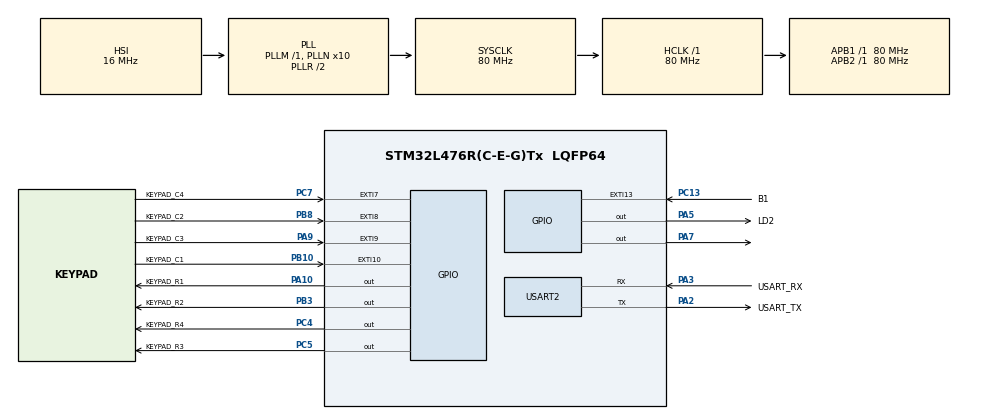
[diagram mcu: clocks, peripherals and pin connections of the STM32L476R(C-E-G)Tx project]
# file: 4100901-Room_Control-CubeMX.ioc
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Mcu.Family=STM32L4
Mcu.Name=STM32L476R(C-E-G)Tx
Mcu.Package=LQFP64
NVIC.EXTI15_10_IRQn=true\:0\:0\:false\:false\:true\:true\:true\:true
NVIC.EXTI9_5_IRQn=true\:0\:0\:false\:false\:true\:true\:true\:true
NVIC.PriorityGroup=NVIC_PRIORITYGROUP_4
NVIC.USART2_IRQn=true\:0\:0\:false\:false\:true\:true\:true\:true
PA10.GPIO_Label=KEYPAD_R1
PA10.GPIO_PuPd=GPIO_NOPULL
PA10.Signal=GPIO_Output
PA13\ (JTMS-SWDIO).GPIO_Label=TMS
PA13\ (JTMS-SWDIO).Mode=Serial_Wire
PA13\ (JTMS-SWDIO).Signal=SYS_JTMS-SWDIO
PA14\ (JTCK-SWCLK).GPIO_Label=TCK
PA14\ (JTCK-SWCLK).Mode=Serial_Wire
PA14\ (JTCK-SWCLK).Signal=SYS_JTCK-SWCLK
PA2.GPIO_Label=USART_TX
PA2.GPIO_Mode=GPIO_MODE_AF_PP
PA2.GPIO_PuPd=GPIO_NOPULL
PA2.GPIO_Speed=GPIO_SPEED_FREQ_VERY_HIGH
PA2.Mode=Asynchronous
PA2.Signal=USART2_TX
PA3.GPIO_Label=USART_RX
PA3.GPIO_Mode=GPIO_MODE_AF_PP
PA3.GPIO_PuPd=GPIO_NOPULL
PA3.GPIO_Speed=GPIO_SPEED_FREQ_VERY_HIGH
PA3.Mode=Asynchronous
PA3.Signal=USART2_RX
PA5.GPIO_Label=LD2
PA5.GPIO_ModeDefaultOutputPP=GPIO_MODE_OUTPUT_PP
PA5.GPIO_PuPd=GPIO_NOPULL
PA5.GPIO_Speed=GPIO_SPEED_FREQ_LOW
PA5.Signal=GPIO_Output
PA7.Signal=GPIO_Output
PA9.GPIO_Label=KEYPAD_C3
PA9.GPIO_ModeDefaultEXTI=GPIO_MODE_IT_FALLING
PA9.GPIO_PuPd=GPIO_PULLUP
PA9.Signal=GPXTI9
PB10.GPIO_Label=KEYPAD_C1
PB10.GPIO_ModeDefaultEXTI=GPIO_MODE_IT_FALLING
PB10.GPIO_PuPd=GPIO_PULLUP
PB10.Signal=GPXTI10
PB3\ (JTDO-TRACESWO).GPIO_Label=KEYPAD_R2
PB3\ (JTDO-TRACESWO).Signal=GPIO_Output
PB8.GPIO_Label=KEYPAD_C2
PB8.GPIO_ModeDefaultEXTI=GPIO_MODE_IT_FALLING
PB8.GPIO_PuPd=GPIO_PULLUP
PB8.Signal=GPXTI8
PC13.GPIO_Label=B1
PC13.GPIO_ModeDefaultEXTI=GPIO_MODE_IT_FALLING
PC13.GPIO_PuPd=GPIO_NOPULL
PC13.Signal=GPXTI13
PC14-OSC32_IN\ (PC14).Mode=LSE-External-Oscillator
PC14-OSC32_IN\ (PC14).Signal=RCC_OSC32_IN
PC15-OSC32_OUT\ (PC15).Mode=LSE-External-Oscillator
PC15-OSC32_OUT\ (PC15).Signal=RCC_OSC32_OUT
PC4.GPIO_Label=KEYPAD_R4
PC4.Signal=GPIO_Output
PC5.GPIO_Label=KEYPAD_R3
PC5.Signal=GPIO_Output
PC7.GPIO_Label=KEYPAD_C4
PC7.GPIO_ModeDefaultEXTI=GPIO_MODE_IT_FALLING
PC7.GPIO_PuPd=GPIO_PULLUP
PC7.Signal=GPXTI7
PH0-OSC_IN\ (PH0).Signal=RCC_OSC_IN
PH1-OSC_OUT\ (PH1).Signal=RCC_OSC_OUT
ProjectManager.HeapSize=0x200
ProjectManager.StackSize=0x400
ProjectManager.TargetToolchain=CMake
RCC.ADCFreq_Value=64000000
RCC.AHBFreq_Value=80000000
RCC.APB1Freq_Value=80000000
RCC.APB1TimFreq_Value=80000000
RCC.APB2Freq_Value=80000000
RCC.APB2TimFreq_Value=80000000
RCC.CortexFreq_Value=80000000
RCC.HCLKFreq_Value=80000000
RCC.HSE_VALUE=8000000
RCC.HSI_VALUE=16000000
RCC.MSI_VALUE=4000000
RCC.PLLN=10
RCC.PLLSourceVirtual=RCC_PLLSOURCE_HSI
RCC.PREFETCH_ENABLE=1
RCC.SYSCLKFreq_VALUE=80000000
RCC.SYSCLKSource=RCC_SYSCLKSOURCE_PLLCLK
RCC.USBFreq_Value=64000000
RCC.VCOOutputFreq_Value=160000000
USART2.VirtualMode-Asynchronous=VM_ASYNC
board=NUCLEO-L476RG

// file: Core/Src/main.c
/* USER CODE BEGIN Header */
/**
    ******************************************************************************
    * @file           : main.c
    * @brief          : Programa principal (lectura de teclado matricial)
    *
    * @details
    * Este archivo define el punto de inicio del firmware y la inicialización
    * general para un sistema de control de sala basado en un STM32L4. El sistema
    * lee un teclado matricial 4x4 mediante interrupciones GPIO, almacena las teclas
    * presionadas en un buffer circular y envía los eventos detectados por UART.
    * Cada vez que se registra una tecla válida, el LED de la placa cambia de estado.
    *
    * Módulos principales:
    * - `keypad_driver.h` : funciones para escaneo e inicialización del teclado
    * - `ring_buffer.h`   : implementación del buffer circular de teclas
    * - `led_driver.h`    : control del LED indicador
    * - `USART2`          : interfaz UART usada para debug/logs a 115200 baudios
    *
    * Secuencia general de ejecución:
    * 1. Inicialización del HAL y configuración del reloj principal
    * 2. Configuración de periféricos (GPIO, UART)
    * 3. Inicialización de módulos (LED, teclado, buffer circular)
    * 4. Bucle infinito: lectura del buffer, impresión de la tecla y cambio de LED
    *
    * Interrupciones:
    * - Las columnas del teclado se configuran como líneas EXTI por flanco de
    *   bajada. La rutina `HAL_GPIO_EXTI_Callback` identifica la tecla presionada
    *   mediante `keypad_scan()` y la guarda en `keypad_rb`.
    *
    * @note
    * Los nombres de pines/puertos como `KEYPAD_R1_GPIO_Port` o `LD2_Pin`
    * provienen del proyecto CubeMX y deben coincidir con la configuración del `.ioc`.
    ******************************************************************************
    */
/* USER CODE END Header */
#include "main.h"

/* USER CODE BEGIN Includes */
#include "keypad_driver.h"
#include "ring_buffer.h"
#include "led_driver.h"
#include <stdio.h>
/* USER CODE END Includes */

UART_HandleTypeDef huart2;

/* USER CODE BEGIN PV */
/**
 * @brief Control del LED integrado en la placa
 *
 * Se usa como indicador visual, alternando su estado cada vez que se procesa
 * un evento de tecla.
 */
led_handle_t led1 = { .port = GPIOA, .pin = GPIO_PIN_5 };

keypad_handle_t keypad = {
    .row_ports = {KEYPAD_R1_GPIO_Port, KEYPAD_R2_GPIO_Port, KEYPAD_R3_GPIO_Port, KEYPAD_R4_GPIO_Port},
    .row_pins  = {KEYPAD_R1_Pin, KEYPAD_R2_Pin, KEYPAD_R3_Pin, KEYPAD_R4_Pin},
    .col_ports = {KEYPAD_C1_GPIO_Port, KEYPAD_C2_GPIO_Port, KEYPAD_C3_GPIO_Port, KEYPAD_C4_GPIO_Port},
    .col_pins  = {KEYPAD_C1_Pin, KEYPAD_C2_Pin, KEYPAD_C3_Pin, KEYPAD_C4_Pin}
};

#define KEYPAD_BUFFER_LEN 16
uint8_t keypad_buffer[KEYPAD_BUFFER_LEN];
/**
 * @brief Buffer circular para almacenamiento de teclas
 *
 * Este buffer usa `keypad_buffer` como área de memoria (tamaño `KEYPAD_BUFFER_LEN`).
 * Las teclas detectadas desde la rutina EXTI se agregan aquí, permitiendo que
 * el bucle principal las procese sin cargar la interrupción.
 */
ring_buffer_t keypad_rb;

/* USER CODE END PV */

void SystemClock_Config(void);
static void MX_GPIO_Init(void);
static void MX_USART2_UART_Init(void);

/* USER CODE BEGIN 0 */

// === INTERRUPCIÓN DEL TECLADO ============================================
/**
 * @brief Callback de interrupción EXTI para GPIO
 *
 * Esta función del HAL se ejecuta cuando ocurre un evento EXTI en las columnas
 * del teclado (flanco de bajada). Llama a `keypad_scan()` para identificar la
 * tecla presionada y, si es válida, la almacena en el buffer circular `keypad_rb`
 * para ser procesada luego por el bucle principal.
 *
 * @param GPIO_Pin Pin que generó la interrupción EXTI.
 */
void HAL_GPIO_EXTI_Callback(uint16_t GPIO_Pin)
{
    char key = keypad_scan(&keypad, GPIO_Pin);
    if (key != '\0')
    {
        ring_buffer_write(&keypad_rb, (uint8_t)key);
    }
}

/* USER CODE END 0 */

/**
  * @brief  Función principal de la aplicación.
  * @retval int
  */
int main(void)
{

  /* Configuración de la MCU --------------------------------------------------*/

  /* Reinicia todos los periféricos, inicializa la Flash y el Systick. */
  HAL_Init();

  /* Configuración del reloj del sistema */
  SystemClock_Config();

  /* Inicialización de periféricos */
  MX_GPIO_Init();
  MX_USART2_UART_Init();

  /* Bucle principal */
  while (1)
  {

  }
}

/**
  * @brief Configuración del reloj del sistema
  * @retval Ninguno
  */
void SystemClock_Config(void)
{
  RCC_OscInitTypeDef RCC_OscInitStruct = {0};
  RCC_ClkInitTypeDef RCC_ClkInitStruct = {0};

  /** Configura el voltaje de salida del regulador interno principal */
  if (HAL_PWREx_ControlVoltageScaling(PWR_REGULATOR_VOLTAGE_SCALE1) != HAL_OK)
  {
    Error_Handler();
  }

  /** Inicializa los osciladores RCC según los parámetros definidos */
  RCC_OscInitStruct.OscillatorType = RCC_OSCILLATORTYPE_HSI;
  RCC_OscInitStruct.HSIState = RCC_HSI_ON;
  RCC_OscInitStruct.HSICalibrationValue = RCC_HSICALIBRATION_DEFAULT;
  RCC_OscInitStruct.PLL.PLLState = RCC_PLL_ON;
  RCC_OscInitStruct.PLL.PLLSource = RCC_PLLSOURCE_HSI;
  RCC_OscInitStruct.PLL.PLLM = 1;
  RCC_OscInitStruct.PLL.PLLN = 10;
  RCC_OscInitStruct.PLL.PLLP = RCC_PLLP_DIV7;
  RCC_OscInitStruct.PLL.PLLQ = RCC_PLLQ_DIV2;
  RCC_OscInitStruct.PLL.PLLR = RCC_PLLR_DIV2;
  if (HAL_RCC_OscConfig(&RCC_OscInitStruct) != HAL_OK)
  {
    Error_Handler();
  }

  /** Inicializa los relojes del CPU, AHB y APB */
  RCC_ClkInitStruct.ClockType = RCC_CLOCKTYPE_HCLK|RCC_CLOCKTYPE_SYSCLK
                              |RCC_CLOCKTYPE_PCLK1|RCC_CLOCKTYPE_PCLK2;
  RCC_ClkInitStruct.SYSCLKSource = RCC_SYSCLKSOURCE_PLLCLK;
  RCC_ClkInitStruct.AHBCLKDivider = RCC_SYSCLK_DIV1;
  RCC_ClkInitStruct.APB1CLKDivider = RCC_HCLK_DIV1;
  RCC_ClkInitStruct.APB2CLKDivider = RCC_HCLK_DIV1;

  if (HAL_RCC_ClockConfig(&RCC_ClkInitStruct, FLASH_LATENCY_4) != HAL_OK)
  {
    Error_Handler();
  }
}

/**
  * @brief Inicialización de USART2
  * @param Ninguno
  * @retval Ninguno
  */
static void MX_USART2_UART_Init(void)
{

  huart2.Instance = USART2;
  huart2.Init.BaudRate = 115200;
  huart2.Init.WordLength = UART_WORDLENGTH_8B;
  huart2.Init.StopBits = UART_STOPBITS_1;
  huart2.Init.Parity = UART_PARITY_NONE;
  huart2.Init.Mode = UART_MODE_TX_RX;
  huart2.Init.HwFlowCtl = UART_HWCONTROL_NONE;
  huart2.Init.OverSampling = UART_OVERSAMPLING_16;
  huart2.Init.OneBitSampling = UART_ONE_BIT_SAMPLE_DISABLE;
  huart2.AdvancedInit.AdvFeatureInit = UART_ADVFEATURE_NO_INIT;
  if (HAL_UART_Init(&huart2) != HAL_OK)
  {
    Error_Handler();
  }

}

/**
  * @brief Inicialización de los pines GPIO
  * @param Ninguno
  * @retval Ninguno
  */
static void MX_GPIO_Init(void)
{
  GPIO_InitTypeDef GPIO_InitStruct = {0};

  /* Activar reloj de los puertos GPIO */
  __HAL_RCC_GPIOC_CLK_ENABLE();
  __HAL_RCC_GPIOH_CLK_ENABLE();
  __HAL_RCC_GPIOA_CLK_ENABLE();
  __HAL_RCC_GPIOB_CLK_ENABLE();

  /* Configurar el nivel inicial de salida de algunos pines */
  HAL_GPIO_WritePin(GPIOA, LD2_Pin|GPIO_PIN_7|KEYPAD_R1_Pin, GPIO_PIN_RESET);

  HAL_GPIO_WritePin(GPIOC, KEYPAD_R4_Pin|KEYPAD_R3_Pin, GPIO_PIN_RESET);

  HAL_GPIO_WritePin(KEYPAD_R2_GPIO_Port, KEYPAD_R2_Pin, GPIO_PIN_RESET);

  /* Configuración del pin B1 como interrupción por flanco descendente */
  GPIO_InitStruct.Pin = B1_Pin;
  GPIO_InitStruct.Mode = GPIO_MODE_IT_FALLING;
  GPIO_InitStruct.Pull = GPIO_NOPULL;
  HAL_GPIO_Init(B1_GPIO_Port, &GPIO_InitStruct);

  /* Pines de salida: LED, PA7 y R1 */
  GPIO_InitStruct.Pin = LD2_Pin|GPIO_PIN_7|KEYPAD_R1_Pin;
  GPIO_InitStruct.Mode = GPIO_MODE_OUTPUT_PP;
  GPIO_InitStruct.Pull = GPIO_NOPULL;
  GPIO_InitStruct.Speed = GPIO_SPEED_FREQ_LOW;
  HAL_GPIO_Init(GPIOA, &GPIO_InitStruct);

  /* Pines de salida: R4 y R3 */
  GPIO_InitStruct.Pin = KEYPAD_R4_Pin|KEYPAD_R3_Pin;
  GPIO_InitStruct.Mode = GPIO_MODE_OUTPUT_PP;
  GPIO_InitStruct.Pull = GPIO_NOPULL;
  GPIO_InitStruct.Speed = GPIO_SPEED_FREQ_LOW;
  HAL_GPIO_Init(GPIOC, &GPIO_InitStruct);

  /* Pines de entrada con interrupción: C1 y C2 */
  GPIO_InitStruct.Pin = KEYPAD_C1_Pin|KEYPAD_C2_Pin;
  GPIO_InitStruct.Mode = GPIO_MODE_IT_FALLING;
  GPIO_InitStruct.Pull = GPIO_PULLUP;
  HAL_GPIO_Init(GPIOB, &GPIO_InitStruct);

  /* Pin de entrada con interrupción: C4 */
  GPIO_InitStruct.Pin = KEYPAD_C4_Pin;
  GPIO_InitStruct.Mode = GPIO_MODE_IT_FALLING;
  GPIO_InitStruct.Pull = GPIO_PULLUP;
  HAL_GPIO_Init(KEYPAD_C4_GPIO_Port, &GPIO_InitStruct);

  /* Pin de entrada con interrupción: C3 */
  GPIO_InitStruct.Pin = KEYPAD_C3_Pin;
  GPIO_InitStruct.Mode = GPIO_MODE_IT_FALLING;
  GPIO_InitStruct.Pull = GPIO_PULLUP;
  HAL_GPIO_Init(KEYPAD_C3_GPIO_Port, &GPIO_InitStruct);

  /* Pin de salida: R2 */
  GPIO_InitStruct.Pin = KEYPAD_R2_Pin;
  GPIO_InitStruct.Mode = GPIO_MODE_OUTPUT_PP;
  GPIO_InitStruct.Pull = GPIO_NOPULL;
  GPIO_InitStruct.Speed = GPIO_SPEED_FREQ_LOW;
  HAL_GPIO_Init(KEYPAD_R2_GPIO_Port, &GPIO_InitStruct);

  /* Configuración de interrupciones EXTI */
  HAL_NVIC_SetPriority(EXTI9_5_IRQn, 0, 0);
  HAL_NVIC_EnableIRQ(EXTI9_5_IRQn);

  HAL_NVIC_SetPriority(EXTI15_10_IRQn, 0, 0);
  HAL_NVIC_EnableIRQ(EXTI15_10_IRQn);

}

/**
  * @brief  Función que se ejecuta ante un error.
  * @retval Ninguno
  */
void Error_Handler(void)
{
  /* USER CODE BEGIN Error_Handler_Debug */
  /* Implementación personalizada para manejar errores del HAL */
  __disable_irq();
  while (1)
  {
  }
  /* USER CODE END Error_Handler_Debug */
}
#ifdef USE_FULL_ASSERT
/**
  * @brief  Muestra el nombre del archivo fuente y la línea donde falló assert_param.
  * @param  file: nombre del archivo fuente
  * @param  line: número de línea donde ocurrió el error
  * @retval Ninguno
  */
void assert_failed(uint8_t *file, uint32_t line)
{
  /* USER CODE BEGIN 6 */
  /* Puede añadirse una rutina personalizada, ej: printf("Error en %s, línea %d\r\n", file, line); */
  /* USER CODE END 6 */
}
#endif /* USE_FULL_ASSERT */
